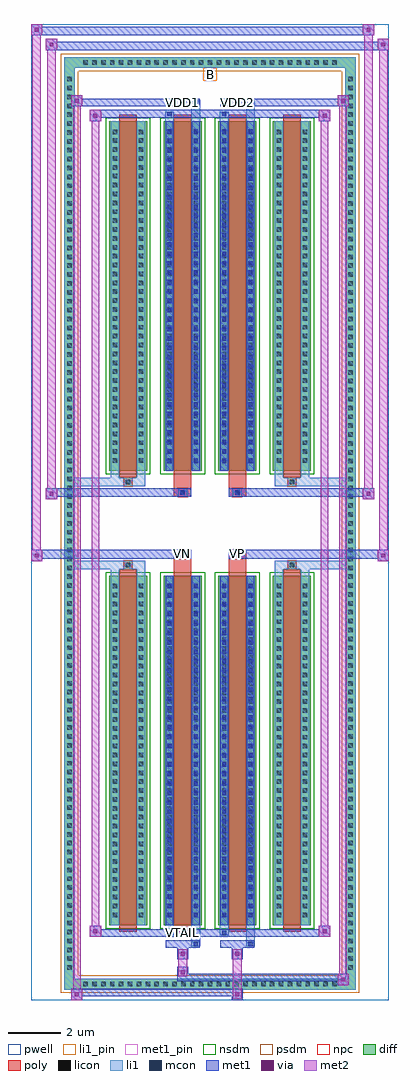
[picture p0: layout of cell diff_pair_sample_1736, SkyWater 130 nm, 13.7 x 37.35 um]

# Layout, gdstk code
import gdstk
lib = gdstk.Library(unit=1e-6, precision=5e-09)
def R(c, l, rs):  # rectangles x0, y0, x1, y1
    for r in rs: c.add(gdstk.rectangle(r[:2], r[2:], *l))
def A(c, l, x, y, w, h, nx, ny, dx, dy):  # array of equal rectangles
    R(c, l, [(x+i*dx, y+j*dy, x+i*dx+w, y+j*dy+h) for i in range(nx) for j in range(ny)])
def P(c, l, *ps):  # polygons
    for p in ps: c.add(gdstk.Polygon(p, *l))
pwell = (64, 44)
diff = (65, 20)
poly = (66, 20)
licon = (66, 44)
li1_pin = (67, 16)
li1 = (67, 20)
mcon = (67, 44)
met1_pin = (68, 16)
met1 = (68, 20)
via = (68, 44)
met2 = (69, 20)
nsdm = (93, 44)
psdm = (94, 20)
npc = (95, 20)

diff_pair_sample_1736 = lib.new_cell('diff_pair_sample_1736')
R(diff_pair_sample_1736, pwell, [(-6.85,-18.24,6.85,19.11), (-4.17,-16.43,-0.01,-0.815), (0.01,-16.43,4.17,-0.815), (-4.17,0.815,-0.01,16.43), (0.01,0.815,4.17,16.43)])
A(diff_pair_sample_1736, diff, -4.965, -17.84, 0.41, 0.41, 29, 2, 0.34, 35.27)
A(diff_pair_sample_1736, diff, -5.58, -17.205, 0.41, 0.41, 1, 101, 0, 0.34)
A(diff_pair_sample_1736, diff, 5.17, -17.205, 0.41, 0.41, 1, 101, 0, 0.34)
A(diff_pair_sample_1736, diff, -3.86, -15.385, 1.45, 13.38, 4, 2, 2.09, 17.39)
R(diff_pair_sample_1736, diff, [(-4.965,-17.84,4.965,-17.43), (-5.58,-17.205,-5.17,17.205), (5.17,-17.205,5.58,17.205), (-4.965,17.43,4.965,17.84)])
P(diff_pair_sample_1736, diff, [(5.58,17.84),(-5.58,17.84),(-5.58,-17.43),(-5.17,-17.43),(-5.17,17.43),(5.17,17.43),(5.17,-17.43),(-5.17,-17.43),(-5.58,-17.43),(-5.58,-17.84),(5.58,-17.84)])
A(diff_pair_sample_1736, poly, -3.47, -15.635, 0.67, 13.88, 4, 2, 2.09, 17.39)
R(diff_pair_sample_1736, poly, [(-3.3,-1.755,-2.97,-1.425), (-3.3,-1.755,-2.97,-1.425), (-1.38,-1.755,-0.71,-1.345), (0.71,-1.755,1.38,-1.345), (2.97,-1.755,3.3,-1.425), (2.97,-1.755,3.3,-1.425), (-1.38,-1.345,-0.71,-1.015), (-1.21,-1.345,-0.88,-1.015), (0.71,-1.345,1.38,-1.015), (0.88,-1.345,1.21,-1.015), (-1.38,1.015,-0.71,1.345), (-1.21,1.015,-0.88,1.345), (0.71,1.015,1.38,1.345), (0.88,1.015,1.21,1.345), (-1.38,1.345,-0.71,1.755), (0.71,1.345,1.38,1.755), (-3.3,1.425,-2.97,1.755), (-3.3,1.425,-2.97,1.755), (2.97,1.425,3.3,1.755), (2.97,1.425,3.3,1.755)])
A(diff_pair_sample_1736, licon, -4.845, -17.72, 0.17, 0.17, 29, 2, 0.34, 35.27)
A(diff_pair_sample_1736, licon, -5.46, -17.085, 0.17, 0.17, 1, 101, 0, 0.34)
A(diff_pair_sample_1736, licon, 5.29, -17.085, 0.17, 0.17, 1, 101, 0, 0.34)
A(diff_pair_sample_1736, licon, -3.72, -15.07, 0.17, 0.17, 1, 38, 0, 0.34)
A(diff_pair_sample_1736, licon, -2.72, -15.07, 0.17, 0.17, 1, 38, 0, 0.34)
A(diff_pair_sample_1736, licon, -1.63, -15.07, 0.17, 0.17, 1, 38, 0, 0.34)
A(diff_pair_sample_1736, licon, -0.63, -15.07, 0.17, 0.17, 1, 38, 0, 0.34)
A(diff_pair_sample_1736, licon, 0.46, -15.07, 0.17, 0.17, 1, 38, 0, 0.34)
A(diff_pair_sample_1736, licon, 1.46, -15.07, 0.17, 0.17, 1, 38, 0, 0.34)
A(diff_pair_sample_1736, licon, 2.55, -15.07, 0.17, 0.17, 1, 38, 0, 0.34)
A(diff_pair_sample_1736, licon, 3.55, -15.07, 0.17, 0.17, 1, 38, 0, 0.34)
A(diff_pair_sample_1736, licon, -3.72, 2.32, 0.17, 0.17, 1, 38, 0, 0.34)
A(diff_pair_sample_1736, licon, -2.72, 2.32, 0.17, 0.17, 1, 38, 0, 0.34)
A(diff_pair_sample_1736, licon, -1.63, 2.32, 0.17, 0.17, 1, 38, 0, 0.34)
A(diff_pair_sample_1736, licon, -0.63, 2.32, 0.17, 0.17, 1, 38, 0, 0.34)
A(diff_pair_sample_1736, licon, 0.46, 2.32, 0.17, 0.17, 1, 38, 0, 0.34)
A(diff_pair_sample_1736, licon, 1.46, 2.32, 0.17, 0.17, 1, 38, 0, 0.34)
A(diff_pair_sample_1736, licon, 2.55, 2.32, 0.17, 0.17, 1, 38, 0, 0.34)
A(diff_pair_sample_1736, licon, 3.55, 2.32, 0.17, 0.17, 1, 38, 0, 0.34)
R(diff_pair_sample_1736, licon, [(-3.22,-1.675,-3.05,-1.505), (3.05,-1.675,3.22,-1.505), (-1.13,-1.265,-0.96,-1.095), (0.96,-1.265,1.13,-1.095), (-1.13,1.095,-0.96,1.265), (0.96,1.095,1.13,1.265), (-3.22,1.505,-3.05,1.675), (3.05,1.505,3.22,1.675)])
R(diff_pair_sample_1736, li1_pin, [(-0.25,16.93,0.25,17.43)])
A(diff_pair_sample_1736, li1, -4.925, -17.8, 0.33, 0.33, 29, 2, 0.34, 35.27)
A(diff_pair_sample_1736, li1, -5.54, -17.165, 0.33, 0.33, 1, 101, 0, 0.34)
A(diff_pair_sample_1736, li1, 5.21, -17.165, 0.33, 0.33, 1, 101, 0, 0.34)
A(diff_pair_sample_1736, li1, -3.8, -15.15, 0.33, 0.33, 1, 38, 0, 0.34)
A(diff_pair_sample_1736, li1, -2.8, -15.15, 0.33, 0.33, 1, 38, 0, 0.34)
A(diff_pair_sample_1736, li1, -1.71, -15.15, 0.33, 0.33, 1, 38, 0, 0.34)
A(diff_pair_sample_1736, li1, -0.71, -15.15, 0.33, 0.33, 1, 38, 0, 0.34)
A(diff_pair_sample_1736, li1, 0.38, -15.15, 0.33, 0.33, 1, 38, 0, 0.34)
A(diff_pair_sample_1736, li1, 1.38, -15.15, 0.33, 0.33, 1, 38, 0, 0.34)
A(diff_pair_sample_1736, li1, 2.47, -15.15, 0.33, 0.33, 1, 38, 0, 0.34)
A(diff_pair_sample_1736, li1, 3.47, -15.15, 0.33, 0.33, 1, 38, 0, 0.34)
A(diff_pair_sample_1736, li1, -1.63, -15.08, 0.17, 0.17, 1, 36, 0, 0.36)
A(diff_pair_sample_1736, li1, -0.63, -15.08, 0.17, 0.17, 1, 36, 0, 0.36)
A(diff_pair_sample_1736, li1, 0.46, -15.08, 0.17, 0.17, 1, 36, 0, 0.36)
A(diff_pair_sample_1736, li1, 1.46, -15.08, 0.17, 0.17, 1, 36, 0, 0.36)
A(diff_pair_sample_1736, li1, -3.8, 2.24, 0.33, 0.33, 1, 38, 0, 0.34)
A(diff_pair_sample_1736, li1, -2.8, 2.24, 0.33, 0.33, 1, 38, 0, 0.34)
A(diff_pair_sample_1736, li1, -1.71, 2.24, 0.33, 0.33, 1, 38, 0, 0.34)
A(diff_pair_sample_1736, li1, -0.71, 2.24, 0.33, 0.33, 1, 38, 0, 0.34)
A(diff_pair_sample_1736, li1, 0.38, 2.24, 0.33, 0.33, 1, 38, 0, 0.34)
A(diff_pair_sample_1736, li1, 1.38, 2.24, 0.33, 0.33, 1, 38, 0, 0.34)
A(diff_pair_sample_1736, li1, 2.47, 2.24, 0.33, 0.33, 1, 38, 0, 0.34)
A(diff_pair_sample_1736, li1, 3.47, 2.24, 0.33, 0.33, 1, 38, 0, 0.34)
A(diff_pair_sample_1736, li1, -1.63, 2.31, 0.17, 0.17, 1, 36, 0, 0.36)
A(diff_pair_sample_1736, li1, -0.63, 2.31, 0.17, 0.17, 1, 36, 0, 0.36)
A(diff_pair_sample_1736, li1, 0.46, 2.31, 0.17, 0.17, 1, 36, 0, 0.36)
A(diff_pair_sample_1736, li1, 1.46, 2.31, 0.17, 0.17, 1, 36, 0, 0.36)
R(diff_pair_sample_1736, li1, [(-5.58,-17.84,-5.17,-17.43), (-5.58,-17.84,-5.17,-17.43), (-5.17,-17.84,5.17,-17.43), (5.17,-17.84,5.58,-17.43), (5.17,-17.84,5.58,-17.43), (-5.58,-17.43,-5.17,17.43), (5.17,-17.43,5.58,17.43), (-0.71,-16.19,-0.38,-15.385), (-0.63,-16.19,-0.46,-16.02), (1.38,-16.19,1.71,-15.385), (1.46,-16.19,1.63,-16.02), (-1.71,-15.76,-1.38,-15.385), (-1.63,-15.76,-1.46,-15.59), (0.38,-15.76,0.71,-15.385), (0.46,-15.76,0.63,-15.59), (-3.8,-15.385,-3.47,-2.005), (-2.8,-15.385,-2.47,-2.005), (-1.71,-15.385,-1.38,-2.005), (-0.71,-15.385,-0.38,-2.005), (0.38,-15.385,0.71,-2.005), (1.38,-15.385,1.71,-2.005), (2.47,-15.385,2.8,-2.005), (3.47,-15.385,3.8,-2.005), (-1.63,-15.08,-1.46,-2.31), (-0.63,-15.08,-0.46,-2.31), (0.46,-15.08,0.63,-2.31), (1.46,-15.08,1.63,-2.31), (-3.8,-2.005,-3.47,-1.425), (-2.8,-2.005,-2.47,-1.425), (2.47,-2.005,2.8,-1.425), (3.47,-2.005,3.8,-1.425), (-5.58,-1.755,-3.3,-1.425), (-3.8,-1.755,-3.3,-1.425), (-3.3,-1.755,-2.97,-1.425), (-2.97,-1.755,-2.47,-1.425), (2.47,-1.755,2.97,-1.425), (2.97,-1.755,3.3,-1.425), (2.97,-1.755,5.58,-1.425), (3.3,-1.755,3.8,-1.425), (-1.21,-1.345,-0.88,-1.015), (0.88,-1.345,1.21,-1.015), (-1.21,1.015,-0.88,1.345), (0.88,1.015,1.21,1.345), (-5.58,1.425,-3.3,1.755), (-3.8,1.425,-3.3,1.755), (-3.8,1.425,-3.47,2.005), (-3.3,1.425,-2.97,1.755), (-2.97,1.425,-2.47,1.755), (-2.8,1.425,-2.47,2.005), (2.47,1.425,2.97,1.755), (2.47,1.425,2.8,2.005), (2.97,1.425,3.3,1.755), (2.97,1.425,5.58,1.755), (3.3,1.425,3.8,1.755), (3.47,1.425,3.8,2.005), (-3.8,2.005,-3.47,15.385), (-2.8,2.005,-2.47,15.385), (-1.71,2.005,-1.38,15.385), (-0.71,2.005,-0.38,15.385), (0.38,2.005,0.71,15.385), (1.38,2.005,1.71,15.385), (2.47,2.005,2.8,15.385), (3.47,2.005,3.8,15.385), (-1.63,2.31,-1.46,15.08), (-0.63,2.31,-0.46,15.08), (0.46,2.31,0.63,15.08), (1.46,2.31,1.63,15.08), (-1.71,15.385,-1.38,15.76), (-0.71,15.385,-0.38,16.19), (0.38,15.385,0.71,15.76), (1.38,15.385,1.71,16.19), (-1.63,15.59,-1.46,15.76), (0.46,15.59,0.63,15.76), (-0.63,16.02,-0.46,16.19), (1.46,16.02,1.63,16.19), (-5.58,17.43,-5.17,17.84), (-5.58,17.43,-5.17,17.84), (-5.17,17.43,5.17,17.84), (5.17,17.43,5.58,17.84), (5.17,17.43,5.58,17.84)])
A(diff_pair_sample_1736, mcon, -1.63, -15.08, 0.17, 0.17, 1, 36, 0, 0.36)
A(diff_pair_sample_1736, mcon, -0.63, -15.08, 0.17, 0.17, 1, 36, 0, 0.36)
A(diff_pair_sample_1736, mcon, 0.46, -15.08, 0.17, 0.17, 1, 36, 0, 0.36)
A(diff_pair_sample_1736, mcon, 1.46, -15.08, 0.17, 0.17, 1, 36, 0, 0.36)
A(diff_pair_sample_1736, mcon, -1.63, 2.31, 0.17, 0.17, 1, 36, 0, 0.36)
A(diff_pair_sample_1736, mcon, -0.63, 2.31, 0.17, 0.17, 1, 36, 0, 0.36)
A(diff_pair_sample_1736, mcon, 0.46, 2.31, 0.17, 0.17, 1, 36, 0, 0.36)
A(diff_pair_sample_1736, mcon, 1.46, 2.31, 0.17, 0.17, 1, 36, 0, 0.36)
R(diff_pair_sample_1736, mcon, [(-0.63,-16.19,-0.46,-16.02), (1.46,-16.19,1.63,-16.02), (-1.63,-15.76,-1.46,-15.59), (0.46,-15.76,0.63,-15.59), (-1.13,-1.265,-0.96,-1.095), (0.96,-1.265,1.13,-1.095), (-1.13,1.095,-0.96,1.265), (0.96,1.095,1.13,1.265), (-1.63,15.59,-1.46,15.76), (0.46,15.59,0.63,15.76), (-0.63,16.02,-0.46,16.19), (1.46,16.02,1.63,16.19)])
R(diff_pair_sample_1736, met1_pin, [(-1.18,-15.8,-0.91,-15.53), (-1.18,-1.285,-0.91,-1.015), (0.91,-1.285,1.18,-1.015), (-1.18,15.98,-0.91,16.25), (0.91,15.98,1.18,16.25)])
A(diff_pair_sample_1736, met1, -1.69, -15.14, 0.29, 0.29, 1, 36, 0, 0.36)
A(diff_pair_sample_1736, met1, -0.69, -15.14, 0.29, 0.29, 1, 36, 0, 0.36)
A(diff_pair_sample_1736, met1, 0.4, -15.14, 0.29, 0.29, 1, 36, 0, 0.36)
A(diff_pair_sample_1736, met1, 1.4, -15.14, 0.29, 0.29, 1, 36, 0, 0.36)
A(diff_pair_sample_1736, met1, -1.69, 2.25, 0.29, 0.29, 1, 36, 0, 0.36)
A(diff_pair_sample_1736, met1, -0.69, 2.25, 0.29, 0.29, 1, 36, 0, 0.36)
A(diff_pair_sample_1736, met1, 0.4, 2.25, 0.29, 0.29, 1, 36, 0, 0.36)
A(diff_pair_sample_1736, met1, 1.4, 2.25, 0.29, 0.29, 1, 36, 0, 0.36)
R(diff_pair_sample_1736, met1, [(-5.31,-18.24,-4.88,-17.81), (0.83,-18.24,1.26,-17.81), (-5.31,-18.1,1.26,-17.81), (4.88,-17.67,5.31,-17.24), (-1.26,-17.53,5.31,-17.24), (-1.26,-17.39,-0.83,-16.96), (-1.26,-16.68,-0.83,-16.25), (0.83,-16.68,1.26,-16.25), (-1.69,-16.25,-0.4,-15.96), (-0.69,-16.25,-0.4,-15.96), (0.4,-16.25,1.69,-15.96), (1.4,-16.25,1.69,-15.96), (-4.6,-15.82,-4.17,-15.39), (-4.6,-15.82,-1.69,-15.53), (-1.69,-15.82,-1.4,-15.53), (-1.69,-15.82,-0.4,-15.53), (-0.4,-15.82,0.4,-15.53), (0.4,-15.82,0.69,-15.53), (0.4,-15.82,1.69,-15.53), (1.69,-15.82,4.6,-15.53), (4.17,-15.82,4.6,-15.39), (-1.69,-15.385,-1.4,-2.005), (-0.69,-15.385,-0.4,-2.005), (0.4,-15.385,0.69,-2.005), (1.4,-15.385,1.69,-2.005), (-6.85,-1.445,-6.42,-1.015), (6.42,-1.445,6.85,-1.015), (-6.85,-1.345,-0.71,-1.015), (-1.38,-1.345,-0.71,-1.015), (0.71,-1.345,1.38,-1.015), (0.71,-1.345,6.85,-1.015), (-1.19,-1.325,-0.9,-1.035), (0.9,-1.325,1.19,-1.035), (-6.28,0.915,-5.85,1.345), (5.85,0.915,6.28,1.345), (-6.28,1.015,-1.38,1.345), (-1.38,1.015,-0.71,1.345), (0.71,1.015,1.38,1.345), (1.38,1.015,6.28,1.345), (-1.19,1.035,-0.9,1.325), (0.9,1.035,1.19,1.325), (-1.69,2.005,-1.4,15.385), (-0.69,2.005,-0.4,15.385), (0.4,2.005,0.69,15.385), (1.4,2.005,1.69,15.385), (-4.6,15.39,-4.17,15.82), (4.17,15.39,4.6,15.82), (-4.6,15.53,-1.69,15.82), (-1.69,15.53,-1.4,15.82), (-1.69,15.53,-0.4,15.82), (-0.4,15.53,0.4,15.82), (0.4,15.53,0.69,15.82), (0.4,15.53,1.69,15.82), (1.69,15.53,4.6,15.82), (-5.31,15.96,-4.88,16.39), (-5.31,15.96,-1.69,16.25), (-1.69,15.96,-0.4,16.25), (-0.69,15.96,-0.4,16.25), (0.4,15.96,1.69,16.25), (1.4,15.96,1.69,16.25), (1.69,15.96,5.31,16.25), (4.88,15.96,5.31,16.39), (-6.28,18.11,-5.85,18.54), (-6.28,18.11,-4.17,18.44), (-4.17,18.11,4.17,18.44), (4.17,18.11,6.85,18.44), (6.42,18.11,6.85,18.54), (-6.85,18.68,-6.42,19.11), (-6.85,18.68,-4.17,19.01), (-4.17,18.68,4.17,19.01), (4.17,18.68,6.28,19.01), (5.85,18.68,6.28,19.11)])
R(diff_pair_sample_1736, via, [(-5.17,-18.1,-5.02,-17.95), (0.97,-18.1,1.12,-17.95), (5.02,-17.53,5.17,-17.38), (-1.12,-17.25,-0.97,-17.1), (-1.12,-16.54,-0.97,-16.39), (0.97,-16.54,1.12,-16.39), (-4.46,-15.68,-4.31,-15.53), (4.31,-15.68,4.46,-15.53), (-6.71,-1.305,-6.56,-1.155), (6.56,-1.305,6.71,-1.155), (-6.14,1.055,-5.99,1.205), (5.99,1.055,6.14,1.205), (-4.46,15.53,-4.31,15.68), (4.31,15.53,4.46,15.68), (-5.17,16.1,-5.02,16.25), (5.02,16.1,5.17,16.25), (-6.14,18.25,-5.99,18.4), (6.56,18.25,6.71,18.4), (-6.71,18.82,-6.56,18.97), (5.99,18.82,6.14,18.97)])
R(diff_pair_sample_1736, met2, [(-5.31,-18.24,-4.88,-17.81), (-5.24,-18.24,-4.95,16.39), (-4.95,-18.24,-4.88,-17.81), (-5.26,-18.19,-4.93,-17.86), (0.88,-18.19,1.21,-17.86), (0.88,-17.86,1.21,-16.63), (4.88,-17.67,5.31,-17.24), (4.95,-17.67,5.24,16.39), (5.24,-17.67,5.31,-17.24), (4.93,-17.62,5.26,-17.29), (-1.21,-17.34,-0.88,-17.01), (-1.21,-17.01,-0.88,-16.63), (-1.21,-16.63,-0.88,-16.3), (0.88,-16.63,1.21,-16.3), (-4.6,-15.82,-4.17,-15.39), (-4.53,-15.82,-4.24,15.82), (-4.24,-15.82,-4.17,-15.39), (4.17,-15.82,4.6,-15.39), (4.24,-15.82,4.53,15.82), (4.53,-15.82,4.6,-15.39), (-4.55,-15.77,-4.22,-15.44), (4.22,-15.77,4.55,-15.44), (-6.85,-1.445,-6.42,-1.015), (-6.8,-1.445,-6.47,19.11), (-6.47,-1.445,-6.42,-1.015), (6.42,-1.445,6.85,-1.015), (6.47,-1.445,6.8,18.54), (6.8,-1.445,6.85,-1.015), (-6.8,-1.395,-6.47,-1.065), (6.47,-1.395,6.8,-1.065), (-6.28,0.915,-5.85,1.345), (-6.23,0.915,-5.9,18.54), (-5.9,0.915,-5.85,1.345), (5.85,0.915,6.28,1.345), (5.9,0.915,6.23,19.11), (6.23,0.915,6.28,1.345), (-6.23,0.965,-5.9,1.295), (5.9,0.965,6.23,1.295), (-4.6,15.39,-4.17,15.82), (-4.24,15.39,-4.17,15.82), (4.17,15.39,4.6,15.82), (4.53,15.39,4.6,15.82), (-4.55,15.44,-4.22,15.77), (4.22,15.44,4.55,15.77), (-5.31,15.96,-4.88,16.39), (-4.95,15.96,-4.88,16.39), (4.88,15.96,5.31,16.39), (5.24,15.96,5.31,16.39), (-5.26,16.01,-4.93,16.34), (4.93,16.01,5.26,16.34), (-6.28,18.11,-5.85,18.54), (-5.9,18.11,-5.85,18.54), (6.42,18.11,6.85,18.54), (6.8,18.11,6.85,18.54), (-6.23,18.16,-5.9,18.49), (6.47,18.16,6.8,18.49), (-6.85,18.68,-6.42,19.11), (-6.47,18.68,-6.42,19.11), (5.85,18.68,6.28,19.11), (6.23,18.68,6.28,19.11), (-6.8,18.73,-6.47,19.06), (5.9,18.73,6.23,19.06)])
A(diff_pair_sample_1736, nsdm, -3.99, -15.515, 1.71, 13.64, 4, 2, 2.09, 17.39)
P(diff_pair_sample_1736, psdm, [(5.71,17.97),(-5.71,17.97),(-5.71,-17.3),(-5.04,-17.3),(-5.04,17.3),(5.04,17.3),(5.04,-17.3),(-5.04,-17.3),(-5.71,-17.3),(-5.71,-17.97),(5.71,-17.97)])
R(diff_pair_sample_1736, npc, [(-3.32,-1.775,-2.95,-1.405), (2.95,-1.775,3.32,-1.405), (-1.23,-1.365,-0.86,-0.995), (0.86,-1.365,1.23,-0.995), (-1.23,0.995,-0.86,1.365), (0.86,0.995,1.23,1.365), (-3.32,1.405,-2.95,1.775), (2.95,1.405,3.32,1.775)])
diff_pair_sample_1736.add(gdstk.Label('VTAIL', (-1.045,-15.665), layer=68, texttype=5))
diff_pair_sample_1736.add(gdstk.Label('VN', (-1.045,-1.15), layer=68, texttype=5))
diff_pair_sample_1736.add(gdstk.Label('VP', (1.045,-1.15), layer=68, texttype=5))
diff_pair_sample_1736.add(gdstk.Label('B', (0,17.18), layer=67, texttype=5))
diff_pair_sample_1736.add(gdstk.Label('VDD2', (1.045,16.115), layer=68, texttype=5))
diff_pair_sample_1736.add(gdstk.Label('VDD1', (-1.045,16.115), layer=68, texttype=5))

lib.write_gds('diff_pair_sample_1736.gds')
